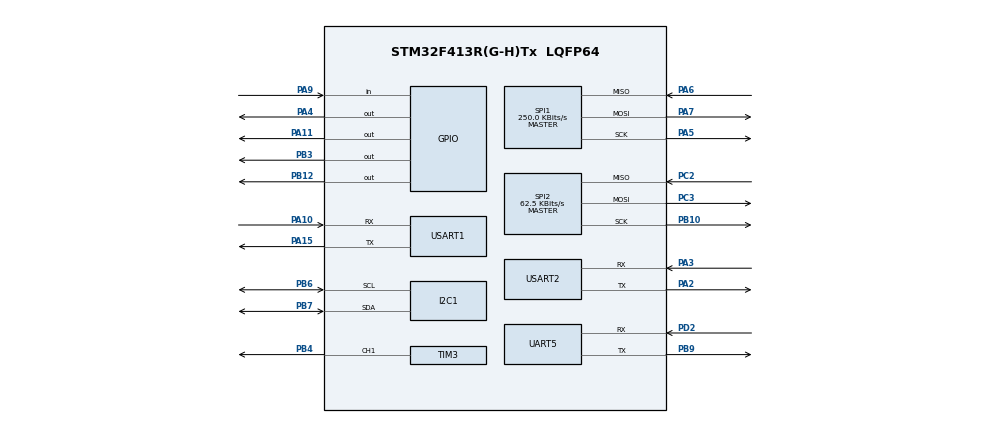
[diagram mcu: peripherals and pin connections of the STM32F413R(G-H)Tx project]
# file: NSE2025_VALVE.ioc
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Mcu.Family=STM32F4
Mcu.Name=STM32F413R(G-H)Tx
Mcu.Package=LQFP64
NVIC.I2C1_ER_IRQn=true\:0\:0\:false\:false\:true\:true\:true\:true
NVIC.I2C1_EV_IRQn=true\:0\:0\:false\:false\:true\:true\:true\:true
NVIC.PriorityGroup=NVIC_PRIORITYGROUP_4
NVIC.SPI1_IRQn=true\:0\:0\:false\:false\:true\:true\:true\:true
NVIC.SPI2_IRQn=true\:0\:0\:false\:false\:true\:true\:true\:true
NVIC.TIM2_IRQn=true\:0\:0\:true\:false\:true\:true\:true\:true
NVIC.TIM3_IRQn=true\:0\:0\:false\:false\:true\:true\:true\:true
NVIC.USART1_IRQn=true\:0\:0\:false\:false\:true\:true\:true\:true
NVIC.USART2_IRQn=true\:0\:0\:false\:false\:true\:true\:true\:true
PA10.Mode=Asynchronous
PA10.Signal=USART1_RX
PA11.GPIO_ModeDefaultOutputPP=GPIO_MODE_OUTPUT_OD
PA11.GPIO_PuPd=GPIO_NOPULL
PA11.PinState=GPIO_PIN_SET
PA11.Signal=GPIO_Output
PA13.Signal=SYS_JTMS-SWDIO
PA14.Signal=SYS_JTCK-SWCLK
PA15.Mode=Asynchronous
PA15.Signal=USART1_TX
PA2.Mode=Asynchronous
PA2.Signal=USART2_TX
PA3.Mode=Asynchronous
PA3.Signal=USART2_RX
PA4.Signal=GPIO_Output
PA5.Mode=Full_Duplex_Master
PA5.Signal=SPI1_SCK
PA6.Mode=Full_Duplex_Master
PA6.Signal=SPI1_MISO
PA7.Mode=Full_Duplex_Master
PA7.Signal=SPI1_MOSI
PA9.GPIO_PuPd=GPIO_PULLDOWN
PA9.Signal=GPIO_Input
PB10.Mode=Full_Duplex_Master
PB10.Signal=SPI2_SCK
PB12.PinState=GPIO_PIN_SET
PB12.Signal=GPIO_Output
PB3.GPIO_PuPd=GPIO_PULLUP
PB3.PinState=GPIO_PIN_SET
PB3.Signal=GPIO_Output
PB4.Signal=S_TIM3_CH1
PB6.Mode=I2C
PB6.Signal=I2C1_SCL
PB7.Mode=I2C
PB7.Signal=I2C1_SDA
PB9.Mode=Asynchronous
PB9.Signal=UART5_TX
PC2.Mode=Full_Duplex_Master
PC2.Signal=SPI2_MISO
PC3.Mode=Full_Duplex_Master
PC3.Signal=SPI2_MOSI
PD2.Mode=Asynchronous
PD2.Signal=UART5_RX
ProjectManager.HeapSize=0x8000
ProjectManager.StackSize=0x800
ProjectManager.TargetToolchain=CMake
RCC.CortexFreq_Value=16000000
RCC.USBFreq_Value=96000000
RCC.VCOOutputFreq_Value=192000000
SH.S_TIM3_CH1.0=TIM3_CH1,PWM Generation1 CH1
SPI1.BaudRatePrescaler=SPI_BAUDRATEPRESCALER_64
SPI1.CalculateBaudRate=250.0 KBits/s
SPI1.Direction=SPI_DIRECTION_2LINES
SPI1.Mode=SPI_MODE_MASTER
SPI1.VirtualType=VM_MASTER
SPI2.BaudRatePrescaler=SPI_BAUDRATEPRESCALER_256
SPI2.CalculateBaudRate=62.5 KBits/s
SPI2.Direction=SPI_DIRECTION_2LINES
SPI2.Mode=SPI_MODE_MASTER
SPI2.VirtualType=VM_MASTER
TIM2.Period=999
TIM2.Prescaler=7999
TIM3.Channel-PWM\ Generation1\ CH1=TIM_CHANNEL_1
TIM3.Period=15999
TIM3.Prescaler=19
TIM3.Pulse-PWM\ Generation1\ CH1=500
UART5.VirtualMode=Asynchronous
USART1.VirtualMode=VM_ASYNC
USART2.VirtualMode=VM_ASYNC
VP_FATFS_VS_Generic.Mode=User_defined
VP_TIM2_VS_ClockSourceINT.Mode=Internal
board=custom

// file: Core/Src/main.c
/* USER CODE BEGIN Header */
/**
 ******************************************************************************
 * @file           : main.c
 * @brief          : Main program body
 ******************************************************************************
 * @attention
 *
 * Copyright (c) 2025 STMicroelectronics.
 * All rights reserved.
 *
 * This software is licensed under terms that can be found in the LICENSE file
 * in the root directory of this software component.
 * If no LICENSE file comes with this software, it is provided AS-IS.
 *
 ******************************************************************************
 */
/* USER CODE END Header */
#include "main.h"
#include "fatfs.h"

/* USER CODE BEGIN Includes */
#include <stdbool.h>
#include <stdio.h>
#include <string.h>
#include "types.h"
#include "valve.h"
#include "ff.h"
#include "fatfs_sd.h"
#include "MAX31855.h"
#include "MCP3425.h"
#include "sdcard.h"
/* USER CODE END Includes */

/* USER CODE BEGIN PTD */
static ServoControl_t servo_state = {
    .valve_operation_active = false,
    .valve_operation_start_time = 0,
};
static SolenoidControl_t solenoid_state = {
    .solenoid_operation_active = false,
    .solenoid_operation_start_time = 0};
/* USER CODE END PTD */

I2C_HandleTypeDef hi2c1;

SPI_HandleTypeDef hspi1;
SPI_HandleTypeDef hspi2;

TIM_HandleTypeDef htim2;
TIM_HandleTypeDef htim3;

UART_HandleTypeDef huart5;
UART_HandleTypeDef huart1;
UART_HandleTypeDef huart2;

/* USER CODE BEGIN PV */
// SDカード用タイマー変数
volatile uint16_t Timer1, Timer2; /* 1ms Timer Counter for SD card operations */
extern volatile uint8_t FatFsCnt; /* FatFs counter for SD card operations (defined in stm32f4xx_it.c) */

static SensorData_t data_buffer;
static volatile bool read_sensor_flag = false;
int servo_mode_pre = 0; // 前回のサーボモード
int servo_mode = 0;     // 0: safety, 1: ready
bool solenoid_open_flag_pre = false;
uint8_t cmd = 0;

FATFS fs;
FIL fil;
UINT bw;
/* USER CODE END PV */

void SystemClock_Config(void);
static void MX_GPIO_Init(void);
static void MX_I2C1_Init(void);
static void MX_SPI1_Init(void);
static void MX_SPI2_Init(void);
static void MX_TIM3_Init(void);
static void MX_USART2_UART_Init(void);
static void MX_UART5_Init(void);
static void MX_USART1_UART_Init(void);
static void MX_TIM2_Init(void);
/* USER CODE BEGIN PFP */
int _write(int file, char *ptr, int len);
void system_test(void);
/* USER CODE END PFP */

int main(void)
{

  /* USER CODE BEGIN 1 */
  setbuf(stdout, NULL);
  /* USER CODE END 1 */

  /* MCU Configuration--------------------------------------------------------*/

  /* Reset of all peripherals, Initializes the Flash interface and the Systick. */
  HAL_Init();

  /* Configure the system clock */
  SystemClock_Config();

  /* Initialize all configured peripherals */
  MX_GPIO_Init();
  MX_I2C1_Init();
  MX_SPI1_Init();
  MX_SPI2_Init();
  MX_TIM3_Init();
  MX_USART2_UART_Init();
  MX_FATFS_Init();
  MX_UART5_Init();
  MX_USART1_UART_Init();
  MX_TIM2_Init();
  /* USER CODE BEGIN 2 */
  // system_test();
  MCP3425_Init(&hi2c1);
  solenoid_close();
  SD_init_valve_file_number();

  HAL_TIM_Base_Start_IT(&htim2);
  HAL_UART_Receive_IT(&huart1, &cmd, 1);
  /* USER CODE END 2 */

  /* Infinite loop */
  /* USER CODE BEGIN WHILE */
  while (1)
  {
    uint32_t current_time = HAL_GetTick();
    if (servo_mode == 1 && servo_mode_pre == 0)
    {
      // サーボモードがセーフティモードに変更された場合、サーボを閉じる
      servo_init();
      servo_mode_pre = servo_mode;
    }
    else if (servo_mode == 0 && servo_mode_pre == 1)
    {
      servo_deinit();
      servo_mode_pre = servo_mode;
    }

    if (solenoid_state.solenoid_operation_active)
    {
      if (solenoid_state.solenoid_operation_start_time == 0)
      {
        solenoid_state.solenoid_operation_start_time = current_time;
        solenoid_open();
      }
      else if (current_time - solenoid_state.solenoid_operation_start_time >= 15000)
      {
        // ソレノイド操作が15秒を超えた場合、ソレノイドを閉じる
        solenoid_close();
        solenoid_state.solenoid_operation_active = false;
        solenoid_state.solenoid_operation_start_time = 0;
      }
    }

    if (servo_state.valve_operation_active)
    {
      // サーボ操作がアクティブな場合、開始時間が設定されていないならば現在時刻を設定
      if (servo_state.valve_operation_start_time == 0)
      {
        servo_state.valve_operation_start_time = current_time;
        servo_open();
      }
      else if (current_time - servo_state.valve_operation_start_time >= 30000)
      {
        servo_close();
        servo_state.valve_operation_active = false;
        servo_state.valve_operation_start_time = 0;
      }
    }
    if (read_sensor_flag)
    {
      read_sensor_flag = false;
      float temperature = MAX31855_Read_Temp(&hspi2);
      float pressure = MCP3425_Read_Pressure(&hi2c1);
      data_buffer = (SensorData_t){
          .temp_data = temperature,
          .press_data = pressure,
          .is_servo_open = servo_state.valve_operation_active,
          .is_nos_open = solenoid_state.solenoid_operation_active};

      sd_save_data(&data_buffer);
    }

    /* USER CODE END WHILE */

  }
}

void SystemClock_Config(void)
{
  RCC_OscInitTypeDef RCC_OscInitStruct = {0};
  RCC_ClkInitTypeDef RCC_ClkInitStruct = {0};

  /** Configure the main internal regulator output voltage
   */
  __HAL_RCC_PWR_CLK_ENABLE();
  __HAL_PWR_VOLTAGESCALING_CONFIG(PWR_REGULATOR_VOLTAGE_SCALE1);

  /** Initializes the RCC Oscillators according to the specified parameters
   * in the RCC_OscInitTypeDef structure.
   */
  RCC_OscInitStruct.OscillatorType = RCC_OSCILLATORTYPE_HSI;
  RCC_OscInitStruct.HSIState = RCC_HSI_ON;
  RCC_OscInitStruct.HSICalibrationValue = RCC_HSICALIBRATION_DEFAULT;
  RCC_OscInitStruct.PLL.PLLState = RCC_PLL_NONE;
  if (HAL_RCC_OscConfig(&RCC_OscInitStruct) != HAL_OK)
  {
    Error_Handler();
  }

  /** Initializes the CPU, AHB and APB buses clocks
   */
  RCC_ClkInitStruct.ClockType = RCC_CLOCKTYPE_HCLK | RCC_CLOCKTYPE_SYSCLK | RCC_CLOCKTYPE_PCLK1 | RCC_CLOCKTYPE_PCLK2;
  RCC_ClkInitStruct.SYSCLKSource = RCC_SYSCLKSOURCE_HSI;
  RCC_ClkInitStruct.AHBCLKDivider = RCC_SYSCLK_DIV1;
  RCC_ClkInitStruct.APB1CLKDivider = RCC_HCLK_DIV1;
  RCC_ClkInitStruct.APB2CLKDivider = RCC_HCLK_DIV1;

  if (HAL_RCC_ClockConfig(&RCC_ClkInitStruct, FLASH_LATENCY_0) != HAL_OK)
  {
    Error_Handler();
  }
}

static void MX_I2C1_Init(void)
{

  hi2c1.Instance = I2C1;
  hi2c1.Init.ClockSpeed = 100000;
  hi2c1.Init.DutyCycle = I2C_DUTYCYCLE_2;
  hi2c1.Init.OwnAddress1 = 0;
  hi2c1.Init.AddressingMode = I2C_ADDRESSINGMODE_7BIT;
  hi2c1.Init.DualAddressMode = I2C_DUALADDRESS_DISABLE;
  hi2c1.Init.OwnAddress2 = 0;
  hi2c1.Init.GeneralCallMode = I2C_GENERALCALL_DISABLE;
  hi2c1.Init.NoStretchMode = I2C_NOSTRETCH_DISABLE;
  if (HAL_I2C_Init(&hi2c1) != HAL_OK)
  {
    Error_Handler();
  }
}

static void MX_SPI1_Init(void)
{

  /* SPI1 parameter configuration*/
  hspi1.Instance = SPI1;
  hspi1.Init.Mode = SPI_MODE_MASTER;
  hspi1.Init.Direction = SPI_DIRECTION_2LINES;
  hspi1.Init.DataSize = SPI_DATASIZE_8BIT;
  hspi1.Init.CLKPolarity = SPI_POLARITY_LOW;
  hspi1.Init.CLKPhase = SPI_PHASE_1EDGE;
  hspi1.Init.NSS = SPI_NSS_SOFT;
  hspi1.Init.BaudRatePrescaler = SPI_BAUDRATEPRESCALER_64;
  hspi1.Init.FirstBit = SPI_FIRSTBIT_MSB;
  hspi1.Init.TIMode = SPI_TIMODE_DISABLE;
  hspi1.Init.CRCCalculation = SPI_CRCCALCULATION_DISABLE;
  hspi1.Init.CRCPolynomial = 10;
  if (HAL_SPI_Init(&hspi1) != HAL_OK)
  {
    Error_Handler();
  }
}

static void MX_SPI2_Init(void)
{

  /* SPI2 parameter configuration*/
  hspi2.Instance = SPI2;
  hspi2.Init.Mode = SPI_MODE_MASTER;
  hspi2.Init.Direction = SPI_DIRECTION_2LINES;
  hspi2.Init.DataSize = SPI_DATASIZE_8BIT;
  hspi2.Init.CLKPolarity = SPI_POLARITY_LOW;
  hspi2.Init.CLKPhase = SPI_PHASE_1EDGE;
  hspi2.Init.NSS = SPI_NSS_SOFT;
  hspi2.Init.BaudRatePrescaler = SPI_BAUDRATEPRESCALER_256;
  hspi2.Init.FirstBit = SPI_FIRSTBIT_MSB;
  hspi2.Init.TIMode = SPI_TIMODE_DISABLE;
  hspi2.Init.CRCCalculation = SPI_CRCCALCULATION_DISABLE;
  hspi2.Init.CRCPolynomial = 10;
  if (HAL_SPI_Init(&hspi2) != HAL_OK)
  {
    Error_Handler();
  }
}

static void MX_TIM2_Init(void)
{

  TIM_ClockConfigTypeDef sClockSourceConfig = {0};
  TIM_MasterConfigTypeDef sMasterConfig = {0};

  htim2.Instance = TIM2;
  htim2.Init.Prescaler = 7999;
  htim2.Init.CounterMode = TIM_COUNTERMODE_UP;
  htim2.Init.Period = 999;
  htim2.Init.ClockDivision = TIM_CLOCKDIVISION_DIV1;
  htim2.Init.AutoReloadPreload = TIM_AUTORELOAD_PRELOAD_DISABLE;
  if (HAL_TIM_Base_Init(&htim2) != HAL_OK)
  {
    Error_Handler();
  }
  sClockSourceConfig.ClockSource = TIM_CLOCKSOURCE_INTERNAL;
  if (HAL_TIM_ConfigClockSource(&htim2, &sClockSourceConfig) != HAL_OK)
  {
    Error_Handler();
  }
  sMasterConfig.MasterOutputTrigger = TIM_TRGO_RESET;
  sMasterConfig.MasterSlaveMode = TIM_MASTERSLAVEMODE_DISABLE;
  if (HAL_TIMEx_MasterConfigSynchronization(&htim2, &sMasterConfig) != HAL_OK)
  {
    Error_Handler();
  }
}

static void MX_TIM3_Init(void)
{

  TIM_MasterConfigTypeDef sMasterConfig = {0};
  TIM_OC_InitTypeDef sConfigOC = {0};

  htim3.Instance = TIM3;
  htim3.Init.Prescaler = 19;
  htim3.Init.CounterMode = TIM_COUNTERMODE_UP;
  htim3.Init.Period = 15999;
  htim3.Init.ClockDivision = TIM_CLOCKDIVISION_DIV1;
  htim3.Init.AutoReloadPreload = TIM_AUTORELOAD_PRELOAD_DISABLE;
  if (HAL_TIM_PWM_Init(&htim3) != HAL_OK)
  {
    Error_Handler();
  }
  sMasterConfig.MasterOutputTrigger = TIM_TRGO_RESET;
  sMasterConfig.MasterSlaveMode = TIM_MASTERSLAVEMODE_DISABLE;
  if (HAL_TIMEx_MasterConfigSynchronization(&htim3, &sMasterConfig) != HAL_OK)
  {
    Error_Handler();
  }
  sConfigOC.OCMode = TIM_OCMODE_PWM1;
  sConfigOC.Pulse = 500;
  sConfigOC.OCPolarity = TIM_OCPOLARITY_HIGH;
  sConfigOC.OCFastMode = TIM_OCFAST_DISABLE;
  if (HAL_TIM_PWM_ConfigChannel(&htim3, &sConfigOC, TIM_CHANNEL_1) != HAL_OK)
  {
    Error_Handler();
  }
  HAL_TIM_MspPostInit(&htim3);
}

static void MX_UART5_Init(void)
{

  huart5.Instance = UART5;
  huart5.Init.BaudRate = 115200;
  huart5.Init.WordLength = UART_WORDLENGTH_8B;
  huart5.Init.StopBits = UART_STOPBITS_1;
  huart5.Init.Parity = UART_PARITY_NONE;
  huart5.Init.Mode = UART_MODE_TX_RX;
  huart5.Init.HwFlowCtl = UART_HWCONTROL_NONE;
  huart5.Init.OverSampling = UART_OVERSAMPLING_16;
  if (HAL_UART_Init(&huart5) != HAL_OK)
  {
    Error_Handler();
  }
}

static void MX_USART1_UART_Init(void)
{

  huart1.Instance = USART1;
  huart1.Init.BaudRate = 115200;
  huart1.Init.WordLength = UART_WORDLENGTH_8B;
  huart1.Init.StopBits = UART_STOPBITS_1;
  huart1.Init.Parity = UART_PARITY_NONE;
  huart1.Init.Mode = UART_MODE_TX_RX;
  huart1.Init.HwFlowCtl = UART_HWCONTROL_NONE;
  huart1.Init.OverSampling = UART_OVERSAMPLING_16;
  if (HAL_UART_Init(&huart1) != HAL_OK)
  {
    Error_Handler();
  }
}

static void MX_USART2_UART_Init(void)
{

  huart2.Instance = USART2;
  huart2.Init.BaudRate = 115200;
  huart2.Init.WordLength = UART_WORDLENGTH_8B;
  huart2.Init.StopBits = UART_STOPBITS_1;
  huart2.Init.Parity = UART_PARITY_NONE;
  huart2.Init.Mode = UART_MODE_TX_RX;
  huart2.Init.HwFlowCtl = UART_HWCONTROL_NONE;
  huart2.Init.OverSampling = UART_OVERSAMPLING_16;
  if (HAL_UART_Init(&huart2) != HAL_OK)
  {
    Error_Handler();
  }
}

static void MX_GPIO_Init(void)
{
  GPIO_InitTypeDef GPIO_InitStruct = {0};

  /* GPIO Ports Clock Enable */
  __HAL_RCC_GPIOC_CLK_ENABLE();
  __HAL_RCC_GPIOA_CLK_ENABLE();
  __HAL_RCC_GPIOB_CLK_ENABLE();
  __HAL_RCC_GPIOD_CLK_ENABLE();

  /*Configure GPIO pin Output Level */
  HAL_GPIO_WritePin(GPIOA, GPIO_PIN_4, GPIO_PIN_RESET);

  /*Configure GPIO pin Output Level */
  HAL_GPIO_WritePin(GPIOB, GPIO_PIN_12 | GPIO_PIN_3, GPIO_PIN_SET);

  /*Configure GPIO pin Output Level */
  HAL_GPIO_WritePin(GPIOA, GPIO_PIN_11, GPIO_PIN_SET);

  /*Configure GPIO pin : PA4 */
  GPIO_InitStruct.Pin = GPIO_PIN_4;
  GPIO_InitStruct.Mode = GPIO_MODE_OUTPUT_PP;
  GPIO_InitStruct.Pull = GPIO_NOPULL;
  GPIO_InitStruct.Speed = GPIO_SPEED_FREQ_LOW;
  HAL_GPIO_Init(GPIOA, &GPIO_InitStruct);

  /*Configure GPIO pin : PB12 */
  GPIO_InitStruct.Pin = GPIO_PIN_12;
  GPIO_InitStruct.Mode = GPIO_MODE_OUTPUT_PP;
  GPIO_InitStruct.Pull = GPIO_NOPULL;
  GPIO_InitStruct.Speed = GPIO_SPEED_FREQ_LOW;
  HAL_GPIO_Init(GPIOB, &GPIO_InitStruct);

  /*Configure GPIO pin : PA9 */
  GPIO_InitStruct.Pin = GPIO_PIN_9;
  GPIO_InitStruct.Mode = GPIO_MODE_INPUT;
  GPIO_InitStruct.Pull = GPIO_PULLDOWN;
  HAL_GPIO_Init(GPIOA, &GPIO_InitStruct);

  /*Configure GPIO pin : PA11 */
  GPIO_InitStruct.Pin = GPIO_PIN_11;
  GPIO_InitStruct.Mode = GPIO_MODE_OUTPUT_OD;
  GPIO_InitStruct.Pull = GPIO_NOPULL;
  GPIO_InitStruct.Speed = GPIO_SPEED_FREQ_LOW;
  HAL_GPIO_Init(GPIOA, &GPIO_InitStruct);

  /*Configure GPIO pin : PB3 */
  GPIO_InitStruct.Pin = GPIO_PIN_3;
  GPIO_InitStruct.Mode = GPIO_MODE_OUTPUT_PP;
  GPIO_InitStruct.Pull = GPIO_PULLUP;
  GPIO_InitStruct.Speed = GPIO_SPEED_FREQ_LOW;
  HAL_GPIO_Init(GPIOB, &GPIO_InitStruct);

}

/* USER CODE BEGIN 4 */
void HAL_UART_RxCpltCallback(UART_HandleTypeDef *huart)
{
  if (huart->Instance == USART1)
  {
    if (cmd == 'L')
    {
      servo_state.valve_operation_active = true;
    }
    else if (cmd == 'E')
    {
      solenoid_state.solenoid_operation_active = true;
    }
    else if (cmd == 'R')
    {
      servo_mode = 1;
    }
    else if (cmd == 'S')
    {
      servo_mode = 0;
    }
  }
  HAL_UART_Receive_IT(&huart1, &cmd, 1);
}

/**
 * @brief TIM2の周期経過コールバック（1秒間隔でセンサーデータ取得フラグ設定）
 */
void HAL_TIM_PeriodElapsedCallback(TIM_HandleTypeDef *htim)
{
  if (htim->Instance == TIM2)
  {
    // センサーデータ読み取りフラグを立てるだけ
    read_sensor_flag = true;
  }
}

void system_test(void)
{

  // MCP3425との通信テスト（エラーは無視）
  uint8_t test_data[3];
  HAL_I2C_Master_Receive(&hi2c1, (0x68 << 1), test_data, 3, 100);
  HAL_Delay(50); // 追加安定化時間

  printf("I2C communication initialized\r\n");

  FRESULT mount_result = f_mount(&fs, "", 1);
  if (mount_result != FR_OK)
  {
    printf("SDカード初期マウント失敗: FRESULT=%d\r\n", mount_result);

    // フォーマットを試行
    BYTE work[_MAX_SS];
    FRESULT format_result = f_mkfs("", FM_FAT32, 0, work, sizeof(work));

    if (format_result == FR_OK)
    {
      printf("SDカードフォーマット成功\r\n");
      if (mount_result == FR_OK)
      {
        printf("SDカード再マウント成功\r\n");
      }
      else
      {
        printf("SDカード再マウント失敗: FRESULT=%d\r\n", mount_result);
      }
    }
    else
    {
      printf("SDカードフォーマット失敗: FRESULT=%d\r\n", format_result);
    }
  }
  else
  {
    printf("SDカードマウント成功\r\n");
  }

  // SDカードの基本動作テスト
  FRESULT test_result = f_open(&fil, "test.txt", FA_CREATE_ALWAYS | FA_WRITE);
  if (test_result == FR_OK)
  {
    char buffer[64]; // ローカルバッファ
    sprintf(buffer, "SDカードテスト成功\r\n");
    f_write(&fil, buffer, strlen(buffer), &bw);
    f_close(&fil);
  }
}

int _write(int file, char *ptr, int len)
{
  (void)file;
  HAL_UART_Transmit(&huart5, (uint8_t *)ptr, len, HAL_MAX_DELAY);
  return len;
}

/* USER CODE END 4 */

void Error_Handler(void)
{
  __disable_irq();
  while (1)
  {
  }
}
